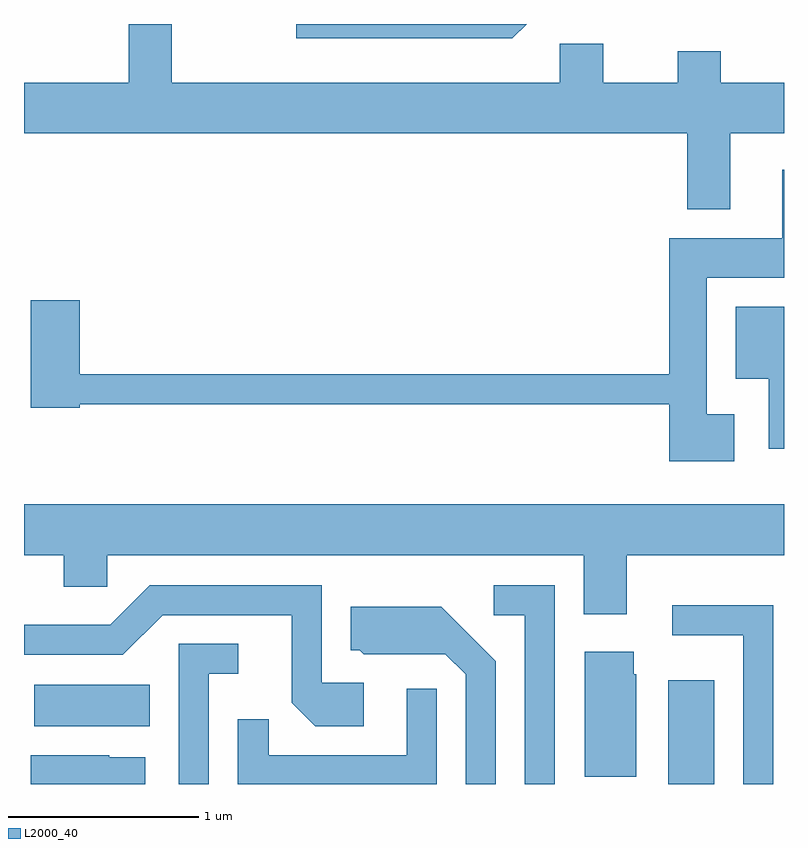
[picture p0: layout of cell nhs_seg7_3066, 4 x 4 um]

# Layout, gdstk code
import gdstk
lib = gdstk.Library(unit=1e-6, precision=1e-09)
def R(c, l, rs):  # rectangles x0, y0, x1, y1
    for r in rs: c.add(gdstk.rectangle(r[:2], r[2:], *l))
def P(c, l, *ps):  # polygons
    for p in ps: c.add(gdstk.Polygon(p, *l))
L2000_40 = (2000, 40)

nhs_seg7_3066 = lib.new_cell('nhs_seg7_3066')
R(nhs_seg7_3066, L2000_40, [(283.001,1684.252,283.244,1684.799), (279.666,1684.556,280.274,1684.774)])
P(nhs_seg7_3066, L2000_40, [(283.329,1687.676),(283.611,1687.676),(283.611,1687.944),(283.279,1687.944),(283.279,1688.109),(283.051,1688.109),(283.051,1687.944),(282.659,1687.944),(282.659,1688.149),(282.431,1688.149),(282.431,1687.944),(280.389,1687.944),(280.389,1688.252),(280.161,1688.252),(280.161,1687.944),(279.611,1687.944),(279.611,1687.676),(283.101,1687.676),(283.101,1687.276),(283.329,1687.276)],
  [(282.258,1688.252),(281.043,1688.252),(281.043,1688.176),(282.182,1688.176)],
  [(283.349,1686.199),(283.204,1686.199),(283.204,1686.916),(283.611,1686.916),(283.611,1687.484),(283.601,1687.484),(283.601,1687.124),(283.006,1687.124),(283.006,1686.409),(279.904,1686.409),(279.904,1686.799),(279.646,1686.799),(279.646,1686.231),(279.904,1686.231),(279.904,1686.251),(283.006,1686.251),(283.006,1685.951),(283.349,1685.951)],
  [(283.611,1686.764),(283.356,1686.764),(283.356,1686.386),(283.531,1686.386),(283.531,1686.016),(283.611,1686.016)],
  [(282.784,1685.456),(283.611,1685.456),(283.611,1685.724),(279.611,1685.724),(279.611,1685.456),(279.821,1685.456),(279.821,1685.291),(280.049,1685.291),(280.049,1685.456),(282.556,1685.456),(282.556,1685.146),(282.784,1685.146)],
  [(282.404,1685.299),(282.083,1685.299),(282.083,1685.141),(282.246,1685.141),(282.246,1684.252),(282.404,1684.252)],
  [(281.399,1684.784),(281.179,1684.784),(281.179,1685.299),(280.274,1685.299),(280.064,1685.089),(279.611,1685.089),(279.611,1684.931),(280.132,1684.931),(280.342,1685.141),(281.021,1685.141),(281.021,1684.679),(281.144,1684.556),(281.399,1684.556)],
  [(283.554,1685.194),(283.023,1685.194),(283.023,1685.036),(283.396,1685.036),(283.396,1684.252),(283.554,1684.252)],
  [(282.094,1684.897),(281.807,1685.184),(281.331,1685.184),(281.331,1684.956),(281.379,1684.956),(281.399,1684.936),(281.829,1684.936),(281.936,1684.829),(281.936,1684.252),(282.094,1684.252)],
  [(280.584,1684.831),(280.738,1684.831),(280.738,1684.989),(280.426,1684.989),(280.426,1684.252),(280.584,1684.252)],
  [(282.834,1684.83),(282.819,1684.83),(282.819,1684.949),(282.561,1684.949),(282.561,1684.291),(282.834,1684.291)],
  [(281.784,1684.753),(281.626,1684.753),(281.626,1684.404),(280.899,1684.404),(280.899,1684.593),(280.736,1684.593),(280.736,1684.252),(281.784,1684.252)],
  [(280.249,1684.394),(280.06,1684.394),(280.06,1684.404),(279.646,1684.404),(279.646,1684.252),(280.249,1684.252)])

lib.write_gds('nhs_seg7_3066.gds')
